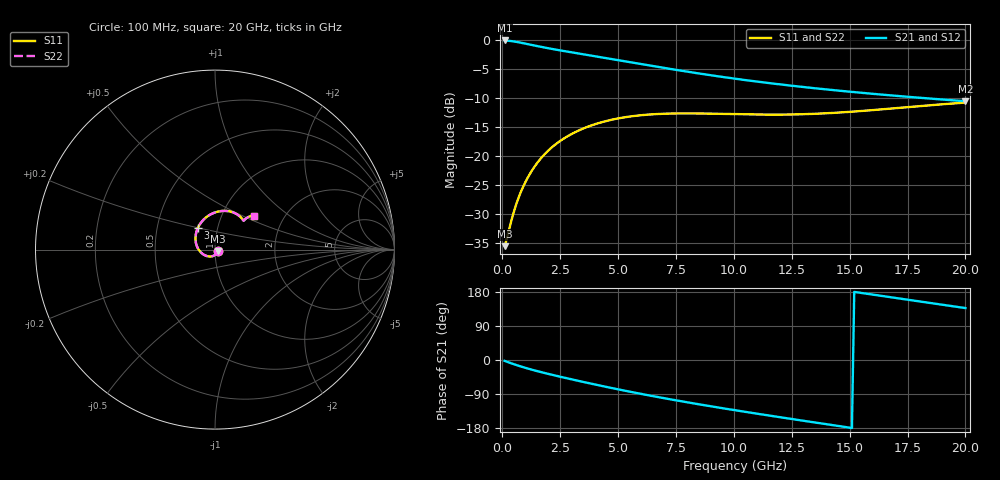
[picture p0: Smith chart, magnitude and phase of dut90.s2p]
! Touchstone file exported from HFSS 2023.1.0
!  File:  D:/Users/fzz/RDL_TSV/temp_RDL_TSV_90_1778748284.aedt
!  Generated:  4:53:35 %x4E0B%x5348  5%x6708 14, 2026
!  Design:  RDL_TSV
!  Project:  temp_RDL_TSV_90_1778748284
!  Setup:  Setup1
!  Solution:  Sweep
! Variables:
!  dtsv = 22.49um
!  hbump = 3um
!  htsv = 71.04um
!  ldown = 384.71um
!  lrdl = 396.92um
!  p = 40
!  p1 = 56.54um
!  rhole = 10um
!  subl = 2741.81um
!  t = 450um
!  tdown = 4.25um
!  trdl = 2.99um
!  viad = 10um
!  wdown = 10.97um
!  wrdl = 28.53um
!  xbump = 18um
# GHz S MA R 50.000000
! Terminal data exported
! Port[1] = TM1_1_T1
! Port[2] = TM1_4_T1
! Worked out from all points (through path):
!   200 points, 100 MHz to 20 GHz, reference 50 ohm
!   highest |S21| = -0.15 dB at 100 MHz (marker M1); lowest = -10.6 dB at 20 GHz (marker M2)
!   group delay of S21, straight-line fit = 29.2 ps
!   lowest |S11| = -35.5 dB at 100 MHz (marker M3), VSWR 1.03, Z = 51.5 - j0.81 ohm
!   |S11| at or under -10 dB: start of sweep to end of sweep
!   |S22| runs from -35.5 to -10.8 dB; largest |S21 - S12| = 1.5e-14
!   S11 on the Smith chart (normalised r, x): 100 MHz: 1.03, -0.02; 3 GHz: 0.80, +0.20; 20 GHz: 1.41, +0.58
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0.1  0.01674 -28.0  0.9834 -2.3  0.9834 -2.3  0.01674 -28.0
! Gamma 0 0 0 0
! Port Impedance 50 0 50 0
0.4  0.02816 -85.7  0.9706 -9.0  0.9706 -9.0  0.02817 -85.7
0.6  0.03829 -109.5  0.9569 -13.1  0.9569 -13.1  0.03829 -109.4
0.9  0.0543 -136.4  0.9322 -19.0  0.9322 -19.0  0.05428 -136.4
1.2  0.07049 -157.8  0.9059 -24.3  0.9059 -24.3  0.07044 -157.7
1.6  0.09179 179.5  0.8722 -30.8  0.8722 -30.8  0.0917 179.5
2  0.1119 161.4  0.8417 -36.9  0.8417 -36.9  0.1118 161.4
2.5  0.1345 143.1  0.8076 -44.1  0.8076 -44.1  0.1344 143.1
3  0.1546 128.1  0.7767 -51.1  0.7767 -51.1  0.1543 128.1
3.5  0.1721 115.5  0.7476 -58.0  0.7476 -58.0  0.1718 115.6
4.2  0.1926 101.0  0.7087 -67.2  0.7087 -67.2  0.1921 101.0
5  0.2101 87.7  0.6662 -77.4  0.6662 -77.4  0.2096 87.7
5.9  0.2229 75.8  0.621 -88.3  0.621 -88.3  0.2223 75.8
6.8  0.2297 66.5  0.5793 -98.7  0.5793 -98.7  0.229 66.5
8.4  0.2318 55.0  0.5148 -116.0  0.5148 -116.0  0.2311 55.0
10.1  0.2283 48.3  0.4598 -133.0  0.4598 -133.0  0.2275 48.3
11.7  0.2263 45.7  0.4186 -148.3  0.4186 -148.3  0.2255 45.7
13.4  0.2297 45.1  0.3835 -164.0  0.3835 -164.0  0.229 45.2
15  0.2392 45.2  0.3565 -178.5  0.3565 -178.5  0.2386 45.2
16.7  0.2544 44.7  0.3325 166.3  0.3325 166.3  0.2538 44.8
18.4  0.2718 43.3  0.312 151.2  0.312 151.2  0.2712 43.4
20  0.2875 41.2  0.2952 137.1  0.2952 137.1  0.287 41.3
